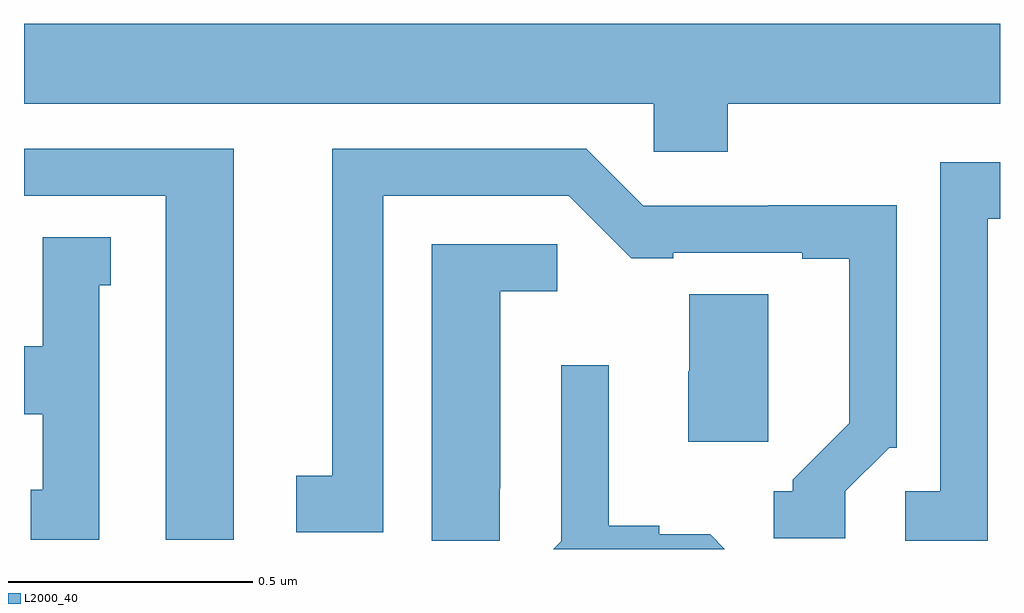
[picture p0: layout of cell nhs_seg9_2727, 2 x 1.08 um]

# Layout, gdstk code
import gdstk
lib = gdstk.Library(unit=1e-6, precision=1e-09)
def P(c, l, *ps):  # polygons
    for p in ps: c.add(gdstk.Polygon(p, *l))
L2000_40 = (2000, 40)

nhs_seg9_2727 = lib.new_cell('nhs_seg9_2727')
P(nhs_seg9_2727, L2000_40, [(145.442,1204.412),(146,1204.412),(146,1204.576),(144,1204.576),(144,1204.412),(145.29,1204.412),(145.29,1204.314),(145.442,1204.314)],
  [(144.43,1204.32),(144,1204.32),(144,1204.224),(144.29,1204.224),(144.29,1203.519),(144.43,1203.519)],
  [(145.683,1203.618),(145.773,1203.708),(145.788,1203.708),(145.788,1204.205),(145.525,1204.205),(145.525,1204.203),(145.269,1204.203),(145.152,1204.32),(144.632,1204.32),(144.632,1203.65),(144.558,1203.65),(144.558,1203.534),(144.736,1203.534),(144.736,1204.224),(145.116,1204.224),(145.244,1204.096),(145.33,1204.096),(145.33,1204.107),(145.595,1204.107),(145.595,1204.095),(145.691,1204.095),(145.691,1203.758),(145.575,1203.642),(145.575,1203.618),(145.536,1203.618),(145.536,1203.522),(145.683,1203.522)],
  [(145.975,1204.177),(146,1204.177),(146,1204.293),(145.878,1204.293),(145.878,1203.618),(145.806,1203.618),(145.806,1203.517),(145.975,1203.517)],
  [(144.154,1204.041),(144.178,1204.041),(144.178,1204.139),(144.038,1204.139),(144.038,1203.916),(144,1203.916),(144,1203.776),(144.038,1203.776),(144.038,1203.621),(144.014,1203.621),(144.014,1203.519),(144.154,1203.519)],
  [(144.975,1203.625),(144.976,1203.625),(144.976,1204.028),(145.093,1204.028),(145.093,1204.125),(144.836,1204.125),(144.836,1203.517),(144.975,1203.517)],
  [(145.525,1204.022),(145.363,1204.022),(145.363,1203.864),(145.361,1203.864),(145.361,1203.72),(145.525,1203.72)],
  [(145.406,1203.53),(145.302,1203.53),(145.302,1203.548),(145.198,1203.548),(145.198,1203.877),(145.101,1203.877),(145.101,1203.516),(145.085,1203.5),(145.436,1203.5)])

lib.write_gds('nhs_seg9_2727.gds')
